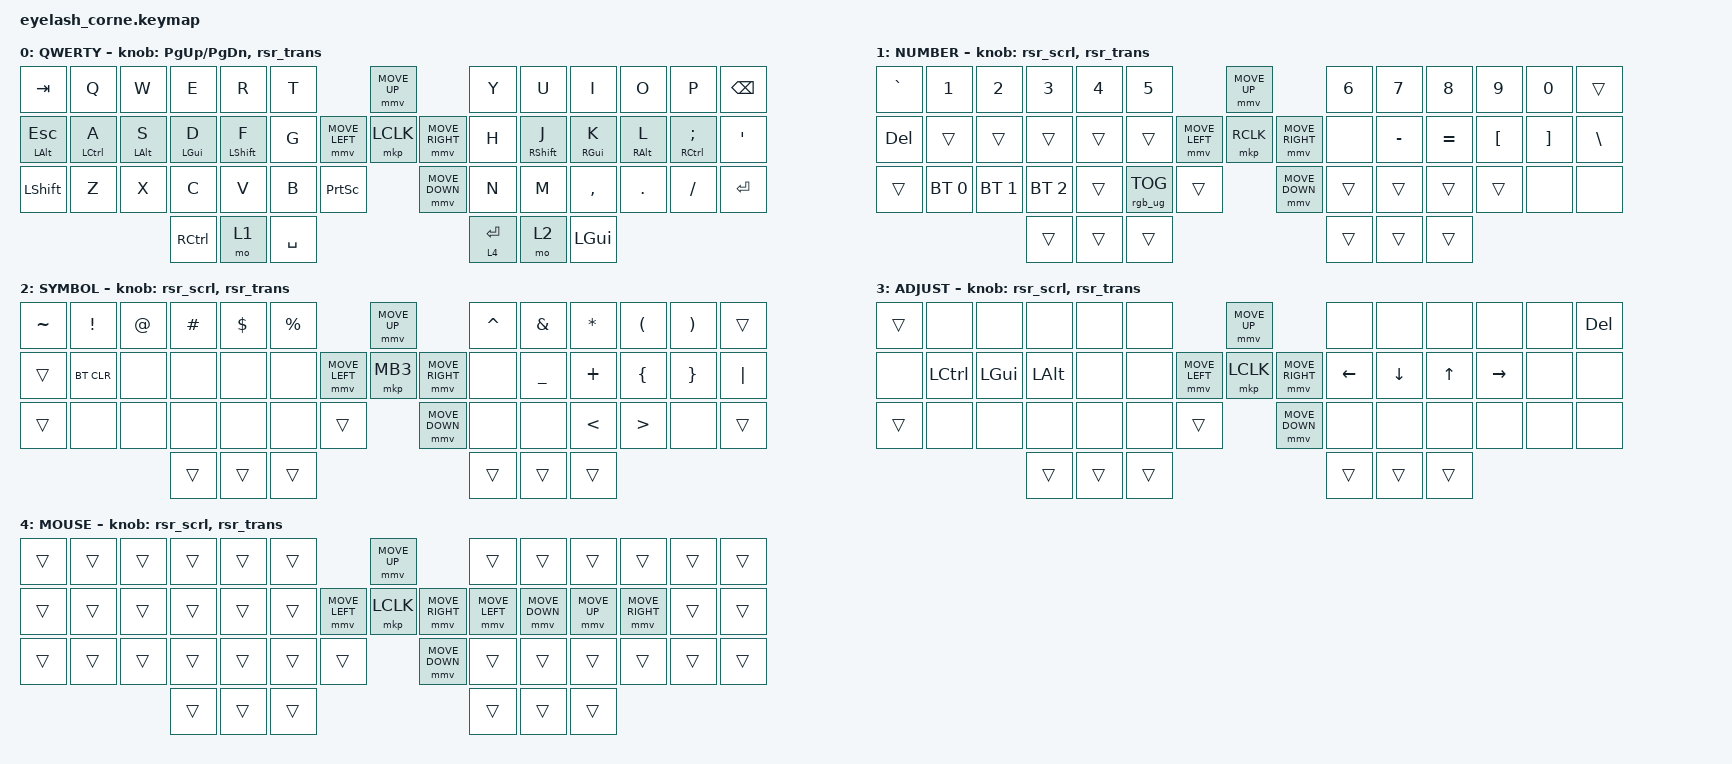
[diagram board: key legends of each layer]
#define ZMK_POINTING_DEFAULT_MOVE_VAL 1200  // 600
#define ZMK_POINTING_DEFAULT_SCRL_VAL 25   // 10

#include <input/processors.dtsi>
#include <zephyr/dt-bindings/input/input-event-codes.h>
#include <behaviors/runtime-sensor-rotate.dtsi>
#include <behaviors.dtsi>
#include <dt-bindings/zmk/bt.h>
#include <dt-bindings/zmk/keys.h>
#include <dt-bindings/zmk/pointing.h>
#include <dt-bindings/zmk/rgb.h>

&soft_off { hold-time-ms = <2000>; };

/ {
    behaviors {
        rsr_scrl: rsr_scrl {
            compatible = "zmk,behavior-runtime-sensor-rotate";
            #sensor-binding-cells = <0>;
            tap-ms = <5>;
            cw-binding = <&msc SCRL_DOWN>;
            ccw-binding = <&msc SCRL_UP>;
        };

        rsr_trans: rsr_trans {
            compatible = "zmk,behavior-runtime-sensor-rotate";
            #sensor-binding-cells = <0>;
            tap-ms = <0>;
        };

        hrm_left: hrm_left {
            compatible = "zmk,behavior-hold-tap";
            label = "HRM_LEFT";
            bindings = <&kp>, <&kp>;

            #binding-cells = <2>;
            flavor = "tap-preferred";
            tapping-term-ms = <250>;
            quick-tap-ms = <300>;
            require-prior-idle-ms = <150>;
            hold-trigger-on-release;
            hold-trigger-key-positions = <6 7 8 9 10 11 12 19 20 21 22 23 24 25 26 27 34 35 36 37 38 39 40 41 42 43 44 45 46 47>;
        };

        hrm_right: hrm_right {
            compatible = "zmk,behavior-hold-tap";
            label = "HRM_RIGHT";
            bindings = <&kp>, <&kp>;

            #binding-cells = <2>;
            flavor = "tap-preferred";
            tapping-term-ms = <250>;
            quick-tap-ms = <300>;
            require-prior-idle-ms = <150>;
            hold-trigger-on-release;
            hold-trigger-key-positions = <0 1 2 3 4 5 6 13 14 15 16 17 18 19 20 21 28 29 30 31 32 33 34 35 42 43 44 45 46 47>;
        };
    };

    combos {
        compatible = "zmk,combos";

        softoff {
            bindings = <&soft_off>;
            key-positions = <1 15 29>;
        };
    };

    conditional_layers {
        compatible = "zmk,conditional-layers";

        tri_layer {
            if-layers = <1 2>;
            then-layer = <3>;
        };
    };

    keymap {
        compatible = "zmk,keymap";

        default_layer {
            display-name = "QWERTY";
            bindings = <
&kp TAB       &kp Q                     &kp W                 &kp E                 &kp R              &kp T                                         &mmv MOVE_UP                     &kp Y        &kp U               &kp I                   &kp O              &kp P                          &kp BSPC
&mt LALT ESC  &hrm_left LEFT_CONTROL A  &hrm_left LEFT_ALT S  &hrm_left LEFT_GUI D  &hrm_left LSHFT F  &kp G                         &mmv MOVE_LEFT  &mkp LCLK       &mmv MOVE_RIGHT  &kp H        &hrm_right RSHFT J  &hrm_right RIGHT_GUI K  &hrm_right RALT L  &hrm_right RIGHT_CONTROL SEMI  &kp SQT
&kp LSHFT     &kp Z                     &kp X                 &kp C                 &kp V              &kp B      &kp PRINTSCREEN                    &mmv MOVE_DOWN                   &kp N        &kp M               &kp COMMA               &kp DOT            &kp FSLH                       &kp ENTER
                                                              &kp RCTRL             &mo 1              &kp SPACE                                                                      &lt 4 ENTER  &mo 2               &kp LGUI
            >;

            sensor-bindings = <&inc_dec_kp PAGE_UP PAGE_DOWN>, <&rsr_trans>;
        };

        lower_layer {
            display-name = "NUMBER";
            bindings = <
&kp GRAVE  &kp N1        &kp N2        &kp N3        &kp N4  &kp N5                                     &mmv MOVE_UP                     &kp N6  &kp N7     &kp N8     &kp N9    &kp N0    &trans
&kp DEL    &trans        &trans        &trans        &trans  &trans                     &mmv MOVE_LEFT  &mkp RCLK       &mmv MOVE_RIGHT  &none   &kp MINUS  &kp EQUAL  &kp LBKT  &kp RBKT  &kp BSLH
&trans     &bt BT_SEL 0  &bt BT_SEL 1  &bt BT_SEL 2  &trans  &rgb_ug RGB_TOG  &trans                    &mmv MOVE_DOWN                   &trans  &trans     &trans     &trans    &none     &none
                                       &trans        &trans  &trans                                                                      &trans  &trans     &trans
            >;

            sensor-bindings = <&rsr_scrl &rsr_trans>;
        };

        raise_layer {
            display-name = "SYMBOL";
            bindings = <
&kp TILDE  &kp EXCL    &kp AT  &kp HASH  &kp DLLR  &kp PRCNT                            &mmv MOVE_UP                     &kp CARET  &kp AMPS   &kp ASTRK  &kp LPAR  &kp RPAR  &trans
&trans     &bt BT_CLR  &none   &none     &none     &none                &mmv MOVE_LEFT  &mkp MB3        &mmv MOVE_RIGHT  &none      &kp UNDER  &kp PLUS   &kp LBRC  &kp RBRC  &kp PIPE
&trans     &none       &none   &none     &none     &none      &trans                    &mmv MOVE_DOWN                   &none      &none      &kp LT     &kp GT    &none     &trans
                               &trans    &trans    &trans                                                                &trans     &trans     &trans
            >;

            sensor-bindings = <&rsr_scrl &rsr_trans>;
        };

        adjust_layer {
            display-name = "ADJUST";
            bindings = <
&trans  &none      &none     &none     &none   &none                             &mmv MOVE_UP                     &none     &none     &none   &none      &none  &kp DEL
&none   &kp LCTRL  &kp LGUI  &kp LALT  &none   &none             &mmv MOVE_LEFT  &mkp LCLK       &mmv MOVE_RIGHT  &kp LEFT  &kp DOWN  &kp UP  &kp RIGHT  &none  &none
&trans  &none      &none     &none     &none   &none   &trans                    &mmv MOVE_DOWN                   &none     &none     &none   &none      &none  &none
                             &trans    &trans  &trans                                                             &trans    &trans    &trans
            >;

            sensor-bindings = <&rsr_scrl &rsr_trans>;
        };

        mouse_layer {
            display-name = "MOUSE";
            bindings = <
&trans  &trans  &trans  &trans  &trans  &trans                            &mmv MOVE_UP                     &trans          &trans          &trans        &trans           &trans  &trans
&trans  &trans  &trans  &trans  &trans  &trans            &mmv MOVE_LEFT  &mkp LCLK       &mmv MOVE_RIGHT  &mmv MOVE_LEFT  &mmv MOVE_DOWN  &mmv MOVE_UP  &mmv MOVE_RIGHT  &trans  &trans
&trans  &trans  &trans  &trans  &trans  &trans  &trans                    &mmv MOVE_DOWN                   &trans          &trans          &trans        &trans           &trans  &trans
                        &trans  &trans  &trans                                                             &trans          &trans          &trans
            >;

            sensor-bindings = <&rsr_scrl &rsr_trans>;
        };
    };
};
